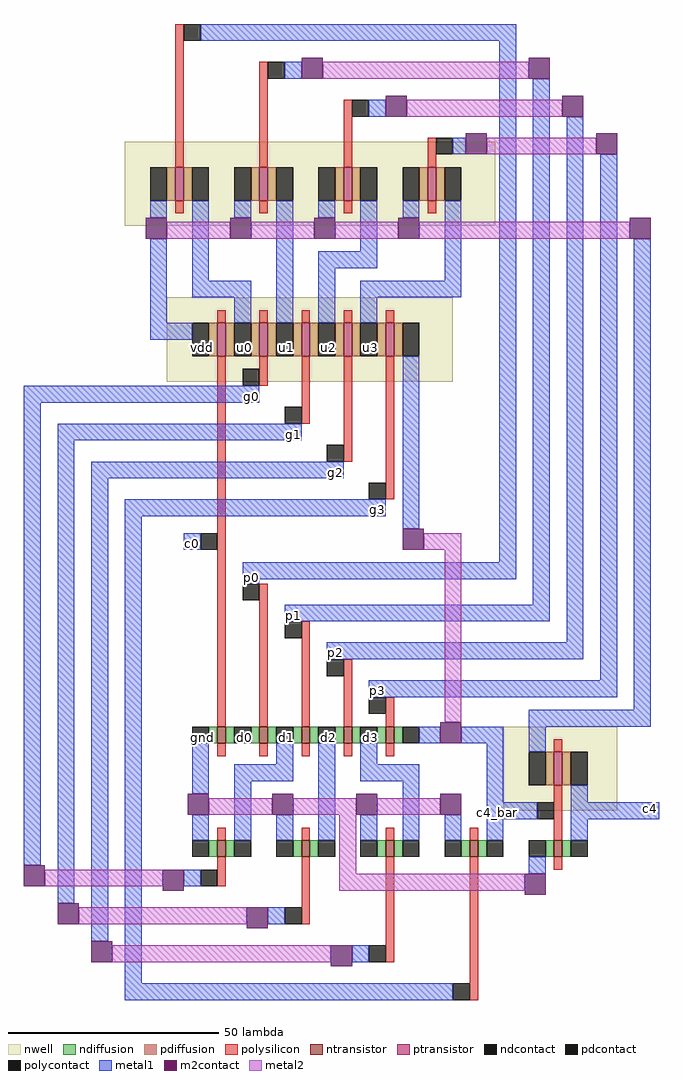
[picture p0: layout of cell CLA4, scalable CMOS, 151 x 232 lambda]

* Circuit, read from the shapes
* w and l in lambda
.subckt CLA4 c0 c4 c4_bar d0 d1 d2 d3 g0 g1 g2 g3 gnd p0 p1 p2 p3 u0 u1 u2 u3 vdd
M1 d1 g0 gnd VSUBS nfet w=4 l=2
M2 d0 c0 gnd VSUBS nfet w=4 l=2
M3 d1 p0 d0 VSUBS nfet w=4 l=2
M4 d2 g1 gnd VSUBS nfet w=4 l=2
M5 d2 p1 d1 VSUBS nfet w=4 l=2
M6 d3 p2 d2 VSUBS nfet w=4 l=2
M7 d3 g2 gnd VSUBS nfet w=4 l=2
M8 c4_bar p3 d3 VSUBS nfet w=4 l=2
M9 c4_bar g3 gnd VSUBS nfet w=4 l=2
M10 c4 c4_bar gnd VSUBS nfet w=4 l=2
M11 u0 p0 vdd n1 pfet w=8 l=2
M12 u0 c0 vdd n2 pfet w=8 l=2
M13 u1 g0 u0 n2 pfet w=8 l=2
M14 u1 p1 vdd n1 pfet w=8 l=2
M15 u2 g1 u1 n2 pfet w=8 l=2
M16 u3 g2 u2 n2 pfet w=8 l=2
M17 u2 p2 vdd n1 pfet w=8 l=2
M18 c4_bar g3 u3 n2 pfet w=8 l=2
M19 u3 p3 vdd n1 pfet w=8 l=2
M20 c4 c4_bar vdd n3 pfet w=8 l=2
.ends

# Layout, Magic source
magic
tech scmos
<< nwell >>
rect -49 23 39 43
rect -39 -14 29 6
rect 41 -116 68 -96
<< ntransistor >>
rect -27 -100 -25 -96
rect -17 -100 -15 -96
rect -7 -100 -5 -96
rect 3 -100 5 -96
rect 13 -100 15 -96
rect -27 -127 -25 -123
rect -7 -127 -5 -123
rect 13 -127 15 -123
rect 33 -127 35 -123
rect 53 -127 55 -123
<< ptransistor >>
rect -37 29 -35 37
rect -17 29 -15 37
rect 3 29 5 37
rect 23 29 25 37
rect -27 -8 -25 0
rect -17 -8 -15 0
rect -7 -8 -5 0
rect 3 -8 5 0
rect 13 -8 15 0
rect 53 -110 55 -102
<< ndiffusion >>
rect -29 -100 -27 -96
rect -25 -100 -23 -96
rect -19 -100 -17 -96
rect -15 -100 -13 -96
rect -9 -100 -7 -96
rect -5 -100 -3 -96
rect 1 -100 3 -96
rect 5 -100 7 -96
rect 11 -100 13 -96
rect 15 -100 17 -96
rect -29 -127 -27 -123
rect -25 -127 -23 -123
rect -9 -127 -7 -123
rect -5 -127 -3 -123
rect 11 -127 13 -123
rect 15 -127 17 -123
rect 31 -127 33 -123
rect 35 -127 37 -123
rect 51 -127 53 -123
rect 55 -127 57 -123
<< pdiffusion >>
rect -39 29 -37 37
rect -35 29 -33 37
rect -19 29 -17 37
rect -15 29 -13 37
rect 1 29 3 37
rect 5 29 7 37
rect 21 29 23 37
rect 25 29 27 37
rect -29 -8 -27 0
rect -25 -8 -23 0
rect -19 -8 -17 0
rect -15 -8 -13 0
rect -9 -8 -7 0
rect -5 -8 -3 0
rect 1 -8 3 0
rect 5 -8 7 0
rect 11 -8 13 0
rect 15 -8 17 0
rect 51 -110 53 -102
rect 55 -110 57 -102
<< ndcontact >>
rect -33 -100 -29 -96
rect -23 -100 -19 -96
rect -13 -100 -9 -96
rect -3 -100 1 -96
rect 7 -100 11 -96
rect 17 -100 21 -96
rect -33 -127 -29 -123
rect -23 -127 -19 -123
rect -13 -127 -9 -123
rect -3 -127 1 -123
rect 7 -127 11 -123
rect 17 -127 21 -123
rect 27 -127 31 -123
rect 37 -127 41 -123
rect 47 -127 51 -123
rect 57 -127 61 -123
<< pdcontact >>
rect -43 29 -39 37
rect -33 29 -29 37
rect -23 29 -19 37
rect -13 29 -9 37
rect -3 29 1 37
rect 7 29 11 37
rect 17 29 21 37
rect 27 29 31 37
rect -33 -8 -29 0
rect -23 -8 -19 0
rect -13 -8 -9 0
rect -3 -8 1 0
rect 7 -8 11 0
rect 17 -8 21 0
rect 47 -110 51 -102
rect 57 -110 61 -102
<< polysilicon >>
rect -37 37 -35 71
rect -17 37 -15 62
rect 3 37 5 53
rect 23 37 25 44
rect -37 26 -35 29
rect -17 26 -15 29
rect 3 26 5 29
rect 23 26 25 29
rect -27 0 -25 3
rect -17 0 -15 3
rect -7 0 -5 3
rect 3 0 5 3
rect 13 0 15 3
rect -27 -96 -25 -8
rect -17 -15 -15 -8
rect -7 -24 -5 -8
rect 3 -33 5 -8
rect 13 -42 15 -8
rect -17 -96 -15 -62
rect -7 -96 -5 -71
rect 3 -96 5 -80
rect 13 -96 15 -89
rect -27 -103 -25 -100
rect -17 -103 -15 -100
rect -7 -103 -5 -100
rect 3 -103 5 -100
rect 13 -103 15 -100
rect 53 -102 55 -99
rect -27 -123 -25 -120
rect -7 -123 -5 -120
rect 13 -123 15 -120
rect 33 -123 35 -120
rect 53 -123 55 -110
rect -27 -134 -25 -127
rect -7 -143 -5 -127
rect 13 -152 15 -127
rect 33 -161 35 -127
rect 53 -130 55 -127
<< polycontact >>
rect -35 67 -31 71
rect -15 58 -11 62
rect 5 49 9 53
rect 25 40 29 44
rect -31 -54 -27 -50
rect -21 -15 -17 -11
rect -11 -24 -7 -20
rect -1 -33 3 -29
rect 9 -42 13 -38
rect -21 -66 -17 -62
rect -11 -75 -7 -71
rect -1 -84 3 -80
rect 9 -93 13 -89
rect 49 -118 53 -114
rect -31 -134 -27 -130
rect -11 -143 -7 -139
rect 9 -152 13 -148
rect 29 -161 33 -157
<< metal1 >>
rect -31 67 44 71
rect -11 58 -7 62
rect 9 49 13 53
rect 29 40 32 44
rect -43 25 -39 29
rect -43 0 -39 20
rect -33 10 -29 29
rect -23 25 -19 29
rect -33 6 -19 10
rect -23 0 -19 6
rect -43 -4 -33 0
rect -13 0 -9 29
rect -3 25 1 29
rect 7 17 11 29
rect 17 25 21 29
rect -3 13 11 17
rect -3 0 1 13
rect 27 10 31 29
rect 7 6 31 10
rect 7 0 11 6
rect -73 -19 -17 -15
rect -73 -129 -69 -19
rect -65 -28 -7 -24
rect -65 -138 -61 -28
rect -57 -37 3 -33
rect -57 -147 -53 -37
rect -49 -46 13 -42
rect -49 -157 -45 -46
rect 17 -49 21 -8
rect -35 -54 -31 -50
rect 40 -57 44 67
rect -21 -61 44 -57
rect -21 -62 -17 -61
rect 48 -67 52 58
rect -11 -71 52 -67
rect 56 -76 60 49
rect -1 -80 60 -76
rect 64 -85 68 40
rect 9 -89 68 -85
rect 72 -92 76 20
rect -33 -112 -29 -100
rect -13 -105 -9 -100
rect -33 -123 -29 -117
rect -23 -109 -9 -105
rect -23 -123 -19 -109
rect -13 -123 -9 -117
rect -3 -123 1 -100
rect 21 -100 26 -96
rect 47 -96 76 -92
rect 31 -100 41 -96
rect 7 -105 11 -100
rect 7 -109 21 -105
rect 7 -123 11 -117
rect 17 -123 21 -109
rect 27 -123 31 -117
rect 37 -114 41 -100
rect 47 -102 51 -96
rect 57 -114 61 -110
rect 37 -118 49 -114
rect 57 -118 78 -114
rect 37 -123 41 -118
rect 57 -123 61 -118
rect -35 -134 -31 -130
rect 47 -131 51 -127
rect -15 -143 -11 -139
rect 5 -152 9 -148
rect -49 -161 29 -157
<< m2contact >>
rect -7 58 -2 63
rect 13 49 18 54
rect 32 40 37 45
rect -44 20 -39 25
rect -24 20 -19 25
rect -4 20 1 25
rect 16 20 21 25
rect -73 -134 -68 -129
rect -65 -143 -60 -138
rect -57 -152 -52 -147
rect 17 -54 22 -49
rect 47 58 52 63
rect 55 49 60 54
rect 63 40 68 45
rect 71 20 76 25
rect -34 -117 -29 -112
rect -14 -117 -9 -112
rect 26 -100 31 -95
rect 6 -117 11 -112
rect 26 -117 31 -112
rect -40 -135 -35 -130
rect 46 -136 51 -131
rect -20 -144 -15 -139
rect 0 -153 5 -148
<< metal2 >>
rect -2 58 47 62
rect 18 49 55 53
rect 37 40 63 44
rect -39 20 -24 24
rect -19 20 -4 24
rect 1 20 16 24
rect 21 20 71 24
rect 22 -54 31 -50
rect 27 -95 31 -54
rect -29 -117 -14 -113
rect -9 -117 6 -113
rect 11 -117 26 -113
rect -68 -134 -40 -130
rect 2 -131 6 -117
rect 2 -135 46 -131
rect -60 -143 -20 -139
rect -52 -152 0 -148
<< labels >>
rlabel pdcontact -31 -7 -30 -5 1 vdd
rlabel pdcontact -21 -7 -20 -5 1 u0
rlabel pdcontact -11 -7 -10 -5 1 u1
rlabel pdcontact -1 -7 0 -5 1 u2
rlabel pdcontact 9 -7 10 -5 1 u3
rlabel ndcontact -31 -99 -30 -98 1 gnd
rlabel ndcontact -21 -99 -20 -98 1 d0
rlabel ndcontact -11 -99 -10 -98 1 d1
rlabel ndcontact -1 -99 0 -98 1 d2
rlabel ndcontact 9 -99 10 -98 1 d3
rlabel metal1 -20 -18 -18 -17 1 g0
rlabel metal1 -10 -27 -8 -26 1 g1
rlabel metal1 0 -36 2 -35 1 g2
rlabel metal1 10 -45 12 -44 1 g3
rlabel metal1 -20 -61 -18 -60 1 p0
rlabel metal1 0 -79 2 -78 1 p2
rlabel metal1 10 -88 12 -87 1 p3
rlabel metal1 -10 -70 -8 -69 1 p1
rlabel metal1 75 -116 77 -115 7 c4
rlabel metal1 38 -117 41 -116 1 c4_bar
rlabel metal1 -34 -53 -32 -52 1 c0
<< end >>
